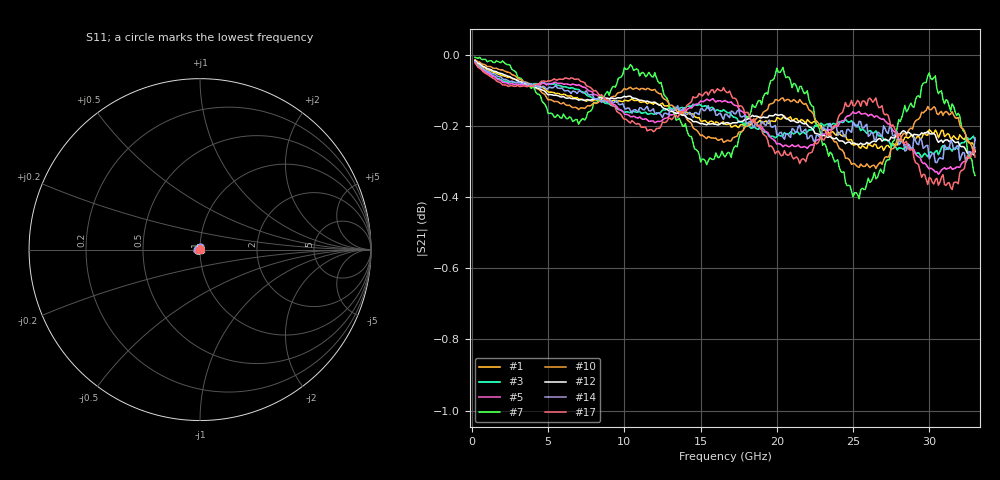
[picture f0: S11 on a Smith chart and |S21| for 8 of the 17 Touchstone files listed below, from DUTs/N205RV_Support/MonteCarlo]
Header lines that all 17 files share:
# GHZ S RI R 50
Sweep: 200 MHz to 33 GHz
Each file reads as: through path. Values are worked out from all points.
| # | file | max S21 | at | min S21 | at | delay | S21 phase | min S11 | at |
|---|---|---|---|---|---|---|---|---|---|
| 1 | N205RV_68.s2p | -0.02 dB | 200 MHz | -0.3 dB | 33 GHz | 248 ps | -42 deg at 16.6 GHz | -68.9 dB | 600 MHz |
| 2 | N205RV_69.s2p | 0.52 dB | 31.3 GHz | -0.8 dB | 25 GHz | - | -41 deg at 16.6 GHz | -71.6 dB | 600 MHz |
| 3 | N205RV_70.s2p | -0.02 dB | 200 MHz | -0.3 dB | 29.5 GHz | 248 ps | -42 deg at 16.6 GHz | -86.1 dB | 1.1 GHz |
| 4 | N205RV_72.s2p | -0.02 dB | 200 MHz | -0.4 dB | 30.4 GHz | 248 ps | -42 deg at 16.6 GHz | -74.9 dB | 400 MHz |
| 5 | N205RV_74.s2p | -0.02 dB | 200 MHz | -0.3 dB | 30.6 GHz | 248 ps | -42 deg at 16.6 GHz | -71.2 dB | 400 MHz |
| 6 | N205RV_75.s2p | 0.20 dB | 30 GHz | -0.6 dB | 25 GHz | 248 ps | -41 deg at 16.6 GHz | -71.6 dB | 700 MHz |
| 7 | N205RV_76.s2p | -0.01 dB | 200 MHz | -0.4 dB | 25.4 GHz | 248 ps | -42 deg at 16.6 GHz | -74.1 dB | 600 MHz |
| 8 | N205RV_77.s2p | -0.02 dB | 200 MHz | -0.3 dB | 28.4 GHz | 248 ps | -42 deg at 16.6 GHz | -74.5 dB | 500 MHz |
| 9 | N205RV_82.s2p | -0.01 dB | 200 MHz | -0.3 dB | 25.4 GHz | 248 ps | -42 deg at 16.6 GHz | -70.7 dB | 600 MHz |
| 10 | N205RV_85.s2p | -0.01 dB | 200 MHz | -0.3 dB | 26.5 GHz | 248 ps | -42 deg at 16.6 GHz | -76.1 dB | 21.3 GHz |
| 11 | N205RV_86.s2p | -0.02 dB | 200 MHz | -0.4 dB | 31.4 GHz | 248 ps | -42 deg at 16.6 GHz | -86.3 dB | 400 MHz |
| 12 | N205RV_87.s2p | -0.02 dB | 200 MHz | -0.3 dB | 32.9 GHz | 248 ps | -42 deg at 16.6 GHz | -83.8 dB | 600 MHz |
| 13 | N205RV_90.s2p | -0.02 dB | 200 MHz | -0.3 dB | 28.4 GHz | 248 ps | -42 deg at 16.6 GHz | -72.7 dB | 500 MHz |
| 14 | N205RV_93.s2p | -0.02 dB | 200 MHz | -0.3 dB | 30.5 GHz | 248 ps | -42 deg at 16.6 GHz | -75.9 dB | 500 MHz |
| 15 | N205RV_94.s2p | -0.02 dB | 200 MHz | -0.3 dB | 31.5 GHz | 248 ps | -42 deg at 16.6 GHz | -86.2 dB | 400 MHz |
| 16 | N205RV_95.s2p | 0.18 dB | 30 GHz | -0.6 dB | 25.4 GHz | 248 ps | -41 deg at 16.6 GHz | -72.2 dB | 600 MHz |
| 17 | N205RV_98.s2p | -0.02 dB | 200 MHz | -0.4 dB | 31.5 GHz | 248 ps | -42 deg at 16.6 GHz | -81.3 dB | 400 MHz |
